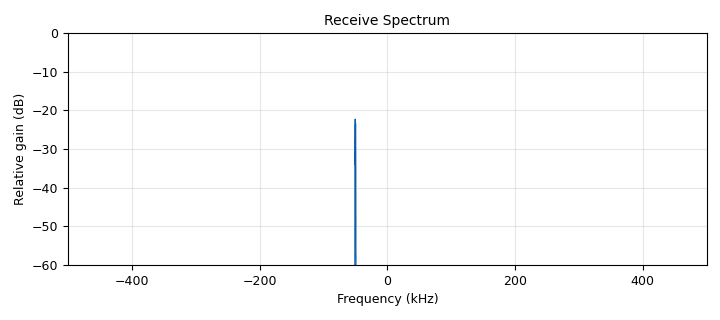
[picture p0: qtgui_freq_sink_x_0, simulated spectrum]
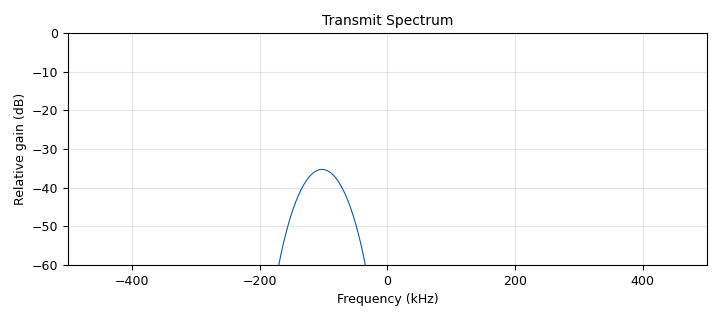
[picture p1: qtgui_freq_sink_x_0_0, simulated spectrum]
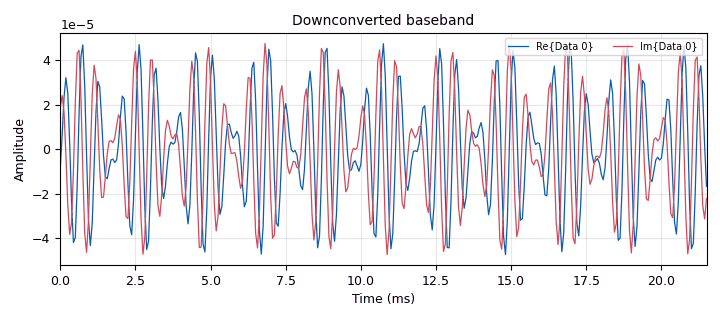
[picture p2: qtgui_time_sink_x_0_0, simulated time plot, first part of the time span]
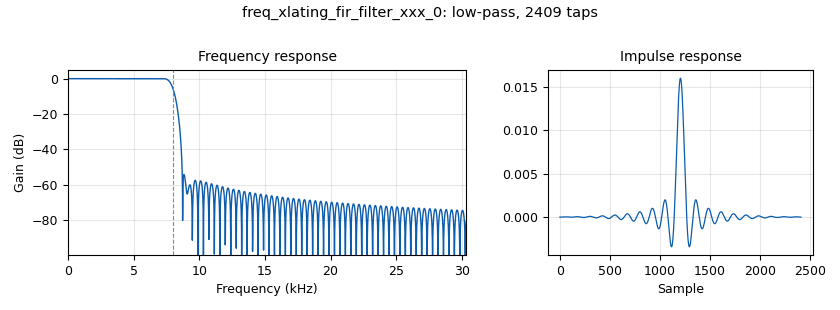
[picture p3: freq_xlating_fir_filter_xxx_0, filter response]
<?xml version='1.0' encoding='utf-8'?>
<?grc format='1' created='3.7.9'?>
<flow_graph>
<block>
<key>options</key>
<param><key>id</key><value>top_block</value></param>
<param><key>category</key><value>Custom</value></param>
<param><key>generate_options</key><value>qt_gui</value></param>
</block>
<block>
<key>variable</key>
<param><key>id</key><value>bm</value></param>
<param><key>value</key><value>1e6</value></param>
</block>
<block>
<key>variable</key>
<param><key>id</key><value>decim</value></param>
<param><key>value</key><value>samp_rate//fsaudio</value></param>
</block>
<block>
<key>variable</key>
<param><key>id</key><value>fsaudio</value></param>
<param><key>value</key><value>16000</value></param>
</block>
<block>
<key>variable_qtgui_range</key>
<param><key>id</key><value>fx</value></param>
<param><key>value</key><value>0</value></param>
<param><key>orient</key><value>Qt.Horizontal</value></param>
<param><key>start</key><value>-100e3</value></param>
<param><key>step</key><value>.5e3</value></param>
<param><key>stop</key><value>0</value></param>
</block>
<block>
<key>variable</key>
<param><key>id</key><value>samp_rate</value></param>
<param><key>value</key><value>1000000</value></param>
</block>
<block>
<key>analog_sig_source_x</key>
<param><key>id</key><value>analog_sig_source_x_0</value></param>
<param><key>amp</key><value>1</value></param>
<param><key>freq</key><value>50</value></param>
<param><key>offset</key><value>-0.5</value></param>
<param><key>type</key><value>float</value></param>
<param><key>samp_rate</key><value>samp_rate</value></param>
<param><key>waveform</key><value>analog.GR_SAW_WAVE</value></param>
</block>
<block>
<key>audio_sink</key>
<param><key>id</key><value>audio_sink_0</value></param>
<param><key>num_inputs</key><value>2</value></param>
<param><key>samp_rate</key><value>16000</value></param>
</block>
<block>
<key>blocks_add_xx</key>
<param><key>id</key><value>blocks_add_xx_0</value></param>
<param><key>type</key><value>complex</value></param>
</block>
<block>
<key>blocks_complex_to_float</key>
<param><key>id</key><value>blocks_complex_to_float_0</value></param>
</block>
<block>
<key>blocks_delay</key>
<param><key>id</key><value>blocks_delay_0</value></param>
<param><key>comment</key><value>Feedthru</value></param>
<param><key>delay</key><value>1000</value></param>
<param><key>type</key><value>complex</value></param>
</block>
<block>
<key>blocks_delay</key>
<param><key>id</key><value>blocks_delay_0_0</value></param>
<param><key>comment</key><value>target</value></param>
<param><key>delay</key><value>1010</value></param>
<param><key>type</key><value>complex</value></param>
</block>
<block>
<key>blocks_multiply_conjugate_cc</key>
<param><key>id</key><value>blocks_multiply_conjugate_cc_0</value></param>
</block>
<block>
<key>blocks_vco_c</key>
<param><key>id</key><value>blocks_vco_c_0</value></param>
<param><key>amplitude</key><value>.5</value></param>
<param><key>samp_rate</key><value>samp_rate</value></param>
<param><key>sensitivity</key><value>bm*(2*3.1416)</value></param>
</block>
<block>
<key>freq_xlating_fir_filter_xxx</key>
<param><key>id</key><value>freq_xlating_fir_filter_xxx_0</value></param>
<param><key>center_freq</key><value>fx</value></param>
<param><key>decim</key><value>decim</value></param>
<param><key>samp_rate</key><value>samp_rate</value></param>
<param><key>taps</key><value>firdes.low_pass(1.0, samp_rate, 8e3, 1e3) </value></param>
<param><key>type</key><value>ccc</value></param>
</block>
<block>
<key>note</key>
<param><key>id</key><value>note_0</value></param>
<param><key>note</key><value>Transmit antenna</value></param>
</block>
<block>
<key>note</key>
<param><key>id</key><value>note_0_0_0</value></param>
<param><key>note</key><value>Delay is  due to round-trip target time</value></param>
</block>
<block>
<key>qtgui_freq_sink_x</key>
<param><key>id</key><value>qtgui_freq_sink_x_0</value></param>
<param><key>bw</key><value>samp_rate</value></param>
<param><key>fc</key><value>0</value></param>
<param><key>ctrlpanel</key><value>True</value></param>
<param><key>fftsize</key><value>4096</value></param>
<param><key>name</key><value>Receive Spectrum</value></param>
<param><key>showports</key><value>True</value></param>
<param><key>type</key><value>complex</value></param>
<param><key>wintype</key><value>firdes.WIN_BLACKMAN_hARRIS</value></param>
<param><key>ymax</key><value>0</value></param>
<param><key>ymin</key><value>-60</value></param>
</block>
<block>
<key>qtgui_freq_sink_x</key>
<param><key>id</key><value>qtgui_freq_sink_x_0_0</value></param>
<param><key>bw</key><value>samp_rate</value></param>
<param><key>fc</key><value>0</value></param>
<param><key>ctrlpanel</key><value>True</value></param>
<param><key>fftsize</key><value>4096</value></param>
<param><key>grid</key><value>True</value></param>
<param><key>name</key><value>Transmit Spectrum</value></param>
<param><key>showports</key><value>True</value></param>
<param><key>tr_level</key><value>-40</value></param>
<param><key>tr_mode</key><value>qtgui.TRIG_MODE_AUTO</value></param>
<param><key>type</key><value>complex</value></param>
<param><key>wintype</key><value>firdes.WIN_BLACKMAN_hARRIS</value></param>
<param><key>ymax</key><value>0</value></param>
<param><key>ymin</key><value>-60</value></param>
</block>
<block>
<key>qtgui_time_sink_x</key>
<param><key>id</key><value>qtgui_time_sink_x_0</value></param>
<param><key>autoscale</key><value>True</value></param>
<param><key>ctrlpanel</key><value>True</value></param>
<param><key>_enabled</key><value>0</value></param>
<param><key>grid</key><value>True</value></param>
<param><key>color1</key><value>"blue"</value></param>
<param><key>label1</key><value></value></param>
<param><key>color2</key><value>"red"</value></param>
<param><key>label2</key><value></value></param>
<param><key>name</key><value>Transmit RF</value></param>
<param><key>size</key><value>40960</value></param>
<param><key>srate</key><value>samp_rate</value></param>
<param><key>tr_mode</key><value>qtgui.TRIG_MODE_AUTO</value></param>
<param><key>type</key><value>complex</value></param>
</block>
<block>
<key>qtgui_time_sink_x</key>
<param><key>id</key><value>qtgui_time_sink_x_0_0</value></param>
<param><key>autoscale</key><value>True</value></param>
<param><key>ctrlpanel</key><value>True</value></param>
<param><key>grid</key><value>True</value></param>
<param><key>color1</key><value>"blue"</value></param>
<param><key>label1</key><value></value></param>
<param><key>color2</key><value>"red"</value></param>
<param><key>label2</key><value></value></param>
<param><key>name</key><value>Downconverted baseband</value></param>
<param><key>size</key><value>1024</value></param>
<param><key>srate</key><value>fsaudio</value></param>
<param><key>tr_level</key><value>0.5</value></param>
<param><key>tr_mode</key><value>qtgui.TRIG_MODE_AUTO</value></param>
<param><key>type</key><value>complex</value></param>
</block>
<block>
<key>qtgui_time_sink_x</key>
<param><key>id</key><value>qtgui_time_sink_x_0_1</value></param>
<param><key>autoscale</key><value>True</value></param>
<param><key>ctrlpanel</key><value>True</value></param>
<param><key>_enabled</key><value>0</value></param>
<param><key>grid</key><value>True</value></param>
<param><key>color1</key><value>"blue"</value></param>
<param><key>label1</key><value></value></param>
<param><key>name</key><value>Ramp to VCO</value></param>
<param><key>size</key><value>40960</value></param>
<param><key>srate</key><value>samp_rate</value></param>
<param><key>tr_mode</key><value>qtgui.TRIG_MODE_AUTO</value></param>
<param><key>type</key><value>float</value></param>
</block>
<connection><source_block_id>analog_sig_source_x_0</source_block_id><sink_block_id>blocks_vco_c_0</sink_block_id><source_key>0</source_key><sink_key>0</sink_key></connection>
<connection><source_block_id>analog_sig_source_x_0</source_block_id><sink_block_id>qtgui_time_sink_x_0_1</sink_block_id><source_key>0</source_key><sink_key>0</sink_key></connection>
<connection><source_block_id>blocks_add_xx_0</source_block_id><sink_block_id>blocks_multiply_conjugate_cc_0</sink_block_id><source_key>0</source_key><sink_key>0</sink_key></connection>
<connection><source_block_id>blocks_complex_to_float_0</source_block_id><sink_block_id>audio_sink_0</sink_block_id><source_key>1</source_key><sink_key>1</sink_key></connection>
<connection><source_block_id>blocks_complex_to_float_0</source_block_id><sink_block_id>audio_sink_0</sink_block_id><source_key>0</source_key><sink_key>0</sink_key></connection>
<connection><source_block_id>blocks_delay_0</source_block_id><sink_block_id>blocks_add_xx_0</sink_block_id><source_key>0</source_key><sink_key>1</sink_key></connection>
<connection><source_block_id>blocks_delay_0_0</source_block_id><sink_block_id>blocks_add_xx_0</sink_block_id><source_key>0</source_key><sink_key>0</sink_key></connection>
<connection><source_block_id>blocks_multiply_conjugate_cc_0</source_block_id><sink_block_id>freq_xlating_fir_filter_xxx_0</sink_block_id><source_key>0</source_key><sink_key>0</sink_key></connection>
<connection><source_block_id>blocks_multiply_conjugate_cc_0</source_block_id><sink_block_id>qtgui_freq_sink_x_0</sink_block_id><source_key>0</source_key><sink_key>0</sink_key></connection>
<connection><source_block_id>blocks_vco_c_0</source_block_id><sink_block_id>blocks_delay_0</sink_block_id><source_key>0</source_key><sink_key>0</sink_key></connection>
<connection><source_block_id>blocks_vco_c_0</source_block_id><sink_block_id>blocks_delay_0_0</sink_block_id><source_key>0</source_key><sink_key>0</sink_key></connection>
<connection><source_block_id>blocks_vco_c_0</source_block_id><sink_block_id>blocks_multiply_conjugate_cc_0</sink_block_id><source_key>0</source_key><sink_key>1</sink_key></connection>
<connection><source_block_id>blocks_vco_c_0</source_block_id><sink_block_id>qtgui_freq_sink_x_0_0</sink_block_id><source_key>0</source_key><sink_key>0</sink_key></connection>
<connection><source_block_id>blocks_vco_c_0</source_block_id><sink_block_id>qtgui_time_sink_x_0</sink_block_id><source_key>0</source_key><sink_key>0</sink_key></connection>
<connection><source_block_id>freq_xlating_fir_filter_xxx_0</source_block_id><sink_block_id>blocks_complex_to_float_0</sink_block_id><source_key>0</source_key><sink_key>0</sink_key></connection>
<connection><source_block_id>freq_xlating_fir_filter_xxx_0</source_block_id><sink_block_id>qtgui_time_sink_x_0_0</sink_block_id><source_key>0</source_key><sink_key>0</sink_key></connection>
</flow_graph>
